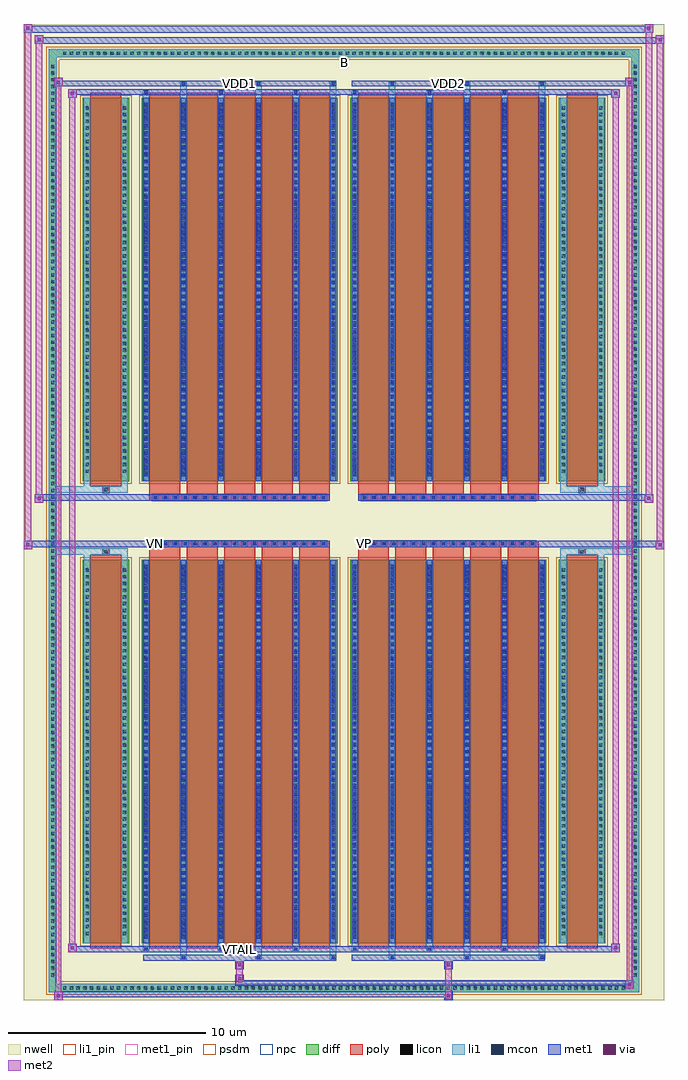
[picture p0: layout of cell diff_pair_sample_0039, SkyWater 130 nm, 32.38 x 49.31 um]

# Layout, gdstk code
import gdstk
lib = gdstk.Library(unit=1e-6, precision=5e-09)
def R(c, l, rs):  # rectangles x0, y0, x1, y1
    for r in rs: c.add(gdstk.rectangle(r[:2], r[2:], *l))
def A(c, l, x, y, w, h, nx, ny, dx, dy):  # array of equal rectangles
    R(c, l, [(x+i*dx, y+j*dy, x+i*dx+w, y+j*dy+h) for i in range(nx) for j in range(ny)])
def P(c, l, *ps):  # polygons
    for p in ps: c.add(gdstk.Polygon(p, *l))
nwell = (64, 20)
diff = (65, 20)
poly = (66, 20)
licon = (66, 44)
li1_pin = (67, 16)
li1 = (67, 20)
mcon = (67, 44)
met1_pin = (68, 16)
met1 = (68, 20)
via = (68, 44)
met2 = (69, 20)
psdm = (94, 20)
npc = (95, 20)

diff_pair_sample_0039 = lib.new_cell('diff_pair_sample_0039')
R(diff_pair_sample_0039, nwell, [(-16.19,-24.22,16.19,25.09), (-13.51,-22.41,-0.01,-0.805), (0.01,-22.41,13.51,-0.805), (-13.51,0.805,-0.01,22.41), (0.01,0.805,13.51,22.41)])
A(diff_pair_sample_0039, diff, -14.315, -23.82, 0.41, 0.41, 84, 2, 0.34, 47.23)
A(diff_pair_sample_0039, diff, -14.92, -23.155, 0.41, 0.41, 1, 136, 0, 0.34)
A(diff_pair_sample_0039, diff, 14.51, -23.155, 0.41, 0.41, 1, 136, 0, 0.34)
R(diff_pair_sample_0039, diff, [(-14.315,-23.82,14.315,-23.41), (-14.92,-23.155,-14.51,23.155), (14.51,-23.155,14.92,23.155), (-13.2,-21.365,-10.86,-1.985), (-10.22,-21.365,-0.32,-1.985), (0.32,-21.365,10.22,-1.985), (10.86,-21.365,13.2,-1.985), (-13.2,1.985,-10.86,21.365), (-10.22,1.985,-0.32,21.365), (0.32,1.985,10.22,21.365), (10.86,1.985,13.2,21.365), (-14.315,23.41,14.315,23.82)])
P(diff_pair_sample_0039, diff, [(14.92,23.82),(-14.92,23.82),(-14.92,-23.41),(-14.51,-23.41),(-14.51,23.41),(14.51,23.41),(14.51,-23.41),(-14.51,-23.41),(-14.92,-23.41),(-14.92,-23.82),(14.92,-23.82)])
A(diff_pair_sample_0039, poly, -9.83, -21.615, 1.56, 19.88, 5, 2, 1.89, 23.35)
A(diff_pair_sample_0039, poly, 0.71, -21.615, 1.56, 19.88, 5, 2, 1.89, 23.35)
A(diff_pair_sample_0039, poly, -9.83, -1.735, 1.56, 0.4, 5, 2, 1.89, 3.07)
A(diff_pair_sample_0039, poly, 0.71, -1.735, 1.56, 0.4, 5, 2, 1.89, 3.07)
A(diff_pair_sample_0039, poly, -9.685, -1.335, 0.33, 0.33, 18, 2, 0.5, 2.34)
A(diff_pair_sample_0039, poly, 0.855, -1.335, 0.33, 0.33, 18, 2, 0.5, 2.34)
R(diff_pair_sample_0039, poly, [(-12.81,-21.615,-11.25,-1.735), (11.25,-21.615,12.81,-1.735), (-12.195,-1.735,-11.865,-1.405), (-12.195,-1.735,-11.865,-1.405), (11.865,-1.735,12.195,-1.405), (11.865,-1.735,12.195,-1.405), (-9.83,-1.335,-0.71,-1.005), (0.71,-1.335,9.83,-1.005), (-9.83,1.005,-0.71,1.335), (0.71,1.005,9.83,1.335), (-12.195,1.405,-11.865,1.735), (-12.195,1.405,-11.865,1.735), (11.865,1.405,12.195,1.735), (11.865,1.405,12.195,1.735), (-12.81,1.735,-11.25,21.615), (11.25,1.735,12.81,21.615)])
A(diff_pair_sample_0039, licon, -14.195, -23.7, 0.17, 0.17, 84, 2, 0.34, 47.23)
A(diff_pair_sample_0039, licon, -14.8, -23.035, 0.17, 0.17, 1, 136, 0, 0.34)
A(diff_pair_sample_0039, licon, 14.63, -23.035, 0.17, 0.17, 1, 136, 0, 0.34)
A(diff_pair_sample_0039, licon, -13.06, -20.94, 0.17, 0.17, 1, 55, 0, 0.34)
A(diff_pair_sample_0039, licon, -11.17, -20.94, 0.17, 0.17, 1, 55, 0, 0.34)
A(diff_pair_sample_0039, licon, -10.08, -20.94, 0.17, 0.17, 6, 55, 1.89, 0.34)
A(diff_pair_sample_0039, licon, 0.46, -20.94, 0.17, 0.17, 6, 55, 1.89, 0.34)
A(diff_pair_sample_0039, licon, 11, -20.94, 0.17, 0.17, 1, 55, 0, 0.34)
A(diff_pair_sample_0039, licon, 12.89, -20.94, 0.17, 0.17, 1, 55, 0, 0.34)
A(diff_pair_sample_0039, licon, -9.605, -1.255, 0.17, 0.17, 18, 2, 0.5, 2.34)
A(diff_pair_sample_0039, licon, 0.935, -1.255, 0.17, 0.17, 18, 2, 0.5, 2.34)
A(diff_pair_sample_0039, licon, -13.06, 2.41, 0.17, 0.17, 1, 55, 0, 0.34)
A(diff_pair_sample_0039, licon, -11.17, 2.41, 0.17, 0.17, 1, 55, 0, 0.34)
A(diff_pair_sample_0039, licon, -10.08, 2.41, 0.17, 0.17, 6, 55, 1.89, 0.34)
A(diff_pair_sample_0039, licon, 0.46, 2.41, 0.17, 0.17, 6, 55, 1.89, 0.34)
A(diff_pair_sample_0039, licon, 11, 2.41, 0.17, 0.17, 1, 55, 0, 0.34)
A(diff_pair_sample_0039, licon, 12.89, 2.41, 0.17, 0.17, 1, 55, 0, 0.34)
R(diff_pair_sample_0039, licon, [(-12.115,-1.655,-11.945,-1.485), (11.945,-1.655,12.115,-1.485), (-12.115,1.485,-11.945,1.655), (11.945,1.485,12.115,1.655)])
R(diff_pair_sample_0039, li1_pin, [(-0.25,22.91,0.25,23.41)])
A(diff_pair_sample_0039, li1, -14.275, -23.78, 0.33, 0.33, 84, 2, 0.34, 47.23)
A(diff_pair_sample_0039, li1, -14.88, -23.115, 0.33, 0.33, 1, 136, 0, 0.34)
A(diff_pair_sample_0039, li1, 14.55, -23.115, 0.33, 0.33, 1, 136, 0, 0.34)
A(diff_pair_sample_0039, li1, -8.27, -22.17, 0.33, 0.805, 3, 2, 3.78, 43.535)
A(diff_pair_sample_0039, li1, -8.19, -22.17, 0.17, 0.17, 3, 2, 3.78, 44.17)
A(diff_pair_sample_0039, li1, 2.27, -22.17, 0.33, 0.805, 3, 2, 3.78, 43.535)
A(diff_pair_sample_0039, li1, 2.35, -22.17, 0.17, 0.17, 3, 2, 3.78, 44.17)
A(diff_pair_sample_0039, li1, -10.16, -21.74, 0.33, 0.375, 3, 2, 3.78, 43.105)
A(diff_pair_sample_0039, li1, -10.08, -21.74, 0.17, 0.17, 3, 2, 3.78, 43.31)
A(diff_pair_sample_0039, li1, 0.38, -21.74, 0.33, 0.375, 3, 2, 3.78, 43.105)
A(diff_pair_sample_0039, li1, 0.46, -21.74, 0.17, 0.17, 3, 2, 3.78, 43.31)
A(diff_pair_sample_0039, li1, -10.16, -21.365, 0.33, 19.38, 6, 2, 1.89, 23.35)
A(diff_pair_sample_0039, li1, 0.38, -21.365, 0.33, 19.38, 6, 2, 1.89, 23.35)
A(diff_pair_sample_0039, li1, -10.08, -21.12, 0.17, 0.17, 6, 53, 1.89, 0.36)
A(diff_pair_sample_0039, li1, -10.08, -21.12, 0.17, 18.89, 6, 2, 1.89, 23.35)
A(diff_pair_sample_0039, li1, 0.46, -21.12, 0.17, 0.17, 6, 53, 1.89, 0.36)
A(diff_pair_sample_0039, li1, 0.46, -21.12, 0.17, 18.89, 6, 2, 1.89, 23.35)
A(diff_pair_sample_0039, li1, -13.14, -21.02, 0.33, 0.33, 1, 55, 0, 0.34)
A(diff_pair_sample_0039, li1, -11.25, -21.02, 0.33, 0.33, 1, 55, 0, 0.34)
A(diff_pair_sample_0039, li1, -10.16, -21.02, 0.33, 0.33, 6, 55, 1.89, 0.34)
A(diff_pair_sample_0039, li1, 0.38, -21.02, 0.33, 0.33, 6, 55, 1.89, 0.34)
A(diff_pair_sample_0039, li1, 10.92, -21.02, 0.33, 0.33, 1, 55, 0, 0.34)
A(diff_pair_sample_0039, li1, 12.81, -21.02, 0.33, 0.33, 1, 55, 0, 0.34)
A(diff_pair_sample_0039, li1, -9.685, -1.335, 0.33, 0.33, 18, 2, 0.5, 2.34)
A(diff_pair_sample_0039, li1, 0.855, -1.335, 0.33, 0.33, 18, 2, 0.5, 2.34)
A(diff_pair_sample_0039, li1, -10.08, 2.23, 0.17, 0.17, 6, 53, 1.89, 0.36)
A(diff_pair_sample_0039, li1, 0.46, 2.23, 0.17, 0.17, 6, 53, 1.89, 0.36)
A(diff_pair_sample_0039, li1, -13.14, 2.33, 0.33, 0.33, 1, 55, 0, 0.34)
A(diff_pair_sample_0039, li1, -11.25, 2.33, 0.33, 0.33, 1, 55, 0, 0.34)
A(diff_pair_sample_0039, li1, -10.16, 2.33, 0.33, 0.33, 6, 55, 1.89, 0.34)
A(diff_pair_sample_0039, li1, 0.38, 2.33, 0.33, 0.33, 6, 55, 1.89, 0.34)
A(diff_pair_sample_0039, li1, 10.92, 2.33, 0.33, 0.33, 1, 55, 0, 0.34)
A(diff_pair_sample_0039, li1, 12.81, 2.33, 0.33, 0.33, 1, 55, 0, 0.34)
R(diff_pair_sample_0039, li1, [(-14.92,-23.82,-14.51,-23.41), (-14.92,-23.82,-14.51,-23.41), (-14.51,-23.82,14.51,-23.41), (14.51,-23.82,14.92,-23.41), (14.51,-23.82,14.92,-23.41), (-14.92,-23.41,-14.51,23.41), (14.51,-23.41,14.92,23.41), (-13.14,-21.365,-12.81,-1.985), (-11.25,-21.365,-10.92,-1.985), (10.92,-21.365,11.25,-1.985), (12.81,-21.365,13.14,-1.985), (-13.14,-1.985,-12.81,-1.405), (-11.25,-1.985,-10.92,-1.405), (10.92,-1.985,11.25,-1.405), (12.81,-1.985,13.14,-1.405), (-14.92,-1.735,-12.195,-1.405), (-13.14,-1.735,-12.195,-1.405), (-12.195,-1.735,-11.865,-1.405), (-11.865,-1.735,-10.92,-1.405), (10.92,-1.735,11.865,-1.405), (11.865,-1.735,12.195,-1.405), (11.865,-1.735,14.92,-1.405), (12.195,-1.735,13.14,-1.405), (-14.92,1.405,-12.195,1.735), (-13.14,1.405,-12.195,1.735), (-13.14,1.405,-12.81,1.985), (-12.195,1.405,-11.865,1.735), (-11.865,1.405,-10.92,1.735), (-11.25,1.405,-10.92,1.985), (10.92,1.405,11.865,1.735), (10.92,1.405,11.25,1.985), (11.865,1.405,12.195,1.735), (11.865,1.405,14.92,1.735), (12.195,1.405,13.14,1.735), (12.81,1.405,13.14,1.985), (-13.14,1.985,-12.81,21.365), (-11.25,1.985,-10.92,21.365), (10.92,1.985,11.25,21.365), (12.81,1.985,13.14,21.365), (-14.92,23.41,-14.51,23.82), (-14.92,23.41,-14.51,23.82), (-14.51,23.41,14.51,23.82), (14.51,23.41,14.92,23.82), (14.51,23.41,14.92,23.82)])
A(diff_pair_sample_0039, mcon, -8.19, -22.17, 0.17, 0.17, 3, 2, 3.78, 44.17)
A(diff_pair_sample_0039, mcon, 2.35, -22.17, 0.17, 0.17, 3, 2, 3.78, 44.17)
A(diff_pair_sample_0039, mcon, -10.08, -21.74, 0.17, 0.17, 3, 2, 3.78, 43.31)
A(diff_pair_sample_0039, mcon, 0.46, -21.74, 0.17, 0.17, 3, 2, 3.78, 43.31)
A(diff_pair_sample_0039, mcon, -10.08, -21.12, 0.17, 0.17, 6, 53, 1.89, 0.36)
A(diff_pair_sample_0039, mcon, 0.46, -21.12, 0.17, 0.17, 6, 53, 1.89, 0.36)
A(diff_pair_sample_0039, mcon, -9.605, -1.255, 0.17, 0.17, 18, 2, 0.5, 2.34)
A(diff_pair_sample_0039, mcon, 0.935, -1.255, 0.17, 0.17, 18, 2, 0.5, 2.34)
A(diff_pair_sample_0039, mcon, -10.08, 2.23, 0.17, 0.17, 6, 53, 1.89, 0.36)
A(diff_pair_sample_0039, mcon, 0.46, 2.23, 0.17, 0.17, 6, 53, 1.89, 0.36)
R(diff_pair_sample_0039, met1_pin, [(-5.405,-21.78,-5.135,-21.51), (-9.655,-1.295,-9.385,-1.025), (0.885,-1.295,1.155,-1.025), (-5.405,21.96,-5.135,22.23), (5.135,21.96,5.405,22.23)])
A(diff_pair_sample_0039, met1, -8.25, -22.23, 0.29, 0.29, 3, 2, 3.78, 44.17)
A(diff_pair_sample_0039, met1, 2.29, -22.23, 0.29, 0.29, 3, 2, 3.78, 44.17)
A(diff_pair_sample_0039, met1, -10.14, -21.8, 0.29, 0.29, 3, 2, 3.78, 43.31)
A(diff_pair_sample_0039, met1, 0.4, -21.8, 0.29, 0.29, 3, 2, 3.78, 43.31)
A(diff_pair_sample_0039, met1, -10.14, -21.365, 0.29, 19.38, 6, 2, 1.89, 23.35)
A(diff_pair_sample_0039, met1, 0.4, -21.365, 0.29, 19.38, 6, 2, 1.89, 23.35)
A(diff_pair_sample_0039, met1, -10.14, -21.18, 0.29, 0.29, 6, 53, 1.89, 0.36)
A(diff_pair_sample_0039, met1, 0.4, -21.18, 0.29, 0.29, 6, 53, 1.89, 0.36)
A(diff_pair_sample_0039, met1, -9.665, -1.315, 0.29, 0.29, 18, 2, 0.5, 2.34)
A(diff_pair_sample_0039, met1, 0.875, -1.315, 0.29, 0.29, 18, 2, 0.5, 2.34)
A(diff_pair_sample_0039, met1, -10.14, 2.17, 0.29, 0.29, 6, 53, 1.89, 0.36)
A(diff_pair_sample_0039, met1, 0.4, 2.17, 0.29, 0.29, 6, 53, 1.89, 0.36)
R(diff_pair_sample_0039, met1, [(-14.65,-24.22,-14.22,-23.79), (5.055,-24.22,5.485,-23.79), (-14.65,-24.08,5.485,-23.79), (14.22,-23.65,14.65,-23.22), (-5.485,-23.51,14.65,-23.22), (-5.485,-23.37,-5.055,-22.94), (-5.485,-22.66,-5.055,-22.23), (5.055,-22.66,5.485,-22.23), (-10.14,-22.23,-0.4,-21.94), (0.4,-22.23,10.14,-21.94), (-13.94,-21.8,-13.51,-21.37), (-13.94,-21.8,-10.14,-21.51), (-10.14,-21.8,-0.4,-21.51), (-0.4,-21.8,0.4,-21.51), (0.4,-21.8,10.14,-21.51), (10.14,-21.8,13.94,-21.51), (13.51,-21.8,13.94,-21.37), (-16.19,-1.435,-15.76,-1.005), (15.76,-1.435,16.19,-1.005), (-16.19,-1.335,-0.71,-1.005), (-9.83,-1.335,-0.71,-1.005), (0.71,-1.335,9.83,-1.005), (0.71,-1.335,16.19,-1.005), (-15.62,0.905,-15.19,1.335), (15.19,0.905,15.62,1.335), (-15.62,1.005,-9.83,1.335), (-9.83,1.005,-0.71,1.335), (0.71,1.005,9.83,1.335), (9.83,1.005,15.62,1.335), (-13.94,21.37,-13.51,21.8), (13.51,21.37,13.94,21.8), (-13.94,21.51,-10.14,21.8), (-10.14,21.51,-0.4,21.8), (-0.4,21.51,0.4,21.8), (0.4,21.51,10.14,21.8), (10.14,21.51,13.94,21.8), (-14.65,21.94,-14.22,22.37), (-14.65,21.94,-10.14,22.23), (-10.14,21.94,-0.4,22.23), (0.4,21.94,10.14,22.23), (10.14,21.94,14.65,22.23), (14.22,21.94,14.65,22.37), (-15.62,24.09,-15.19,24.52), (-15.62,24.09,-13.51,24.42), (-13.51,24.09,13.51,24.42), (13.51,24.09,16.19,24.42), (15.76,24.09,16.19,24.52), (-16.19,24.66,-15.76,25.09), (-16.19,24.66,-13.51,24.99), (-13.51,24.66,13.51,24.99), (13.51,24.66,15.62,24.99), (15.19,24.66,15.62,25.09)])
R(diff_pair_sample_0039, via, [(-14.51,-24.08,-14.36,-23.93), (5.195,-24.08,5.345,-23.93), (14.36,-23.51,14.51,-23.36), (-5.345,-23.23,-5.195,-23.08), (-5.345,-22.52,-5.195,-22.37), (5.195,-22.52,5.345,-22.37), (-13.8,-21.66,-13.65,-21.51), (13.65,-21.66,13.8,-21.51), (-16.05,-1.295,-15.9,-1.145), (15.9,-1.295,16.05,-1.145), (-15.48,1.045,-15.33,1.195), (15.33,1.045,15.48,1.195), (-13.8,21.51,-13.65,21.66), (13.65,21.51,13.8,21.66), (-14.51,22.08,-14.36,22.23), (14.36,22.08,14.51,22.23), (-15.48,24.23,-15.33,24.38), (15.9,24.23,16.05,24.38), (-16.05,24.8,-15.9,24.95), (15.33,24.8,15.48,24.95)])
R(diff_pair_sample_0039, met2, [(-14.65,-24.22,-14.22,-23.79), (-14.58,-24.22,-14.29,22.37), (-14.29,-24.22,-14.22,-23.79), (-14.6,-24.17,-14.27,-23.84), (5.105,-24.17,5.435,-23.84), (5.105,-23.84,5.435,-22.61), (14.22,-23.65,14.65,-23.22), (14.29,-23.65,14.58,22.37), (14.58,-23.65,14.65,-23.22), (14.27,-23.6,14.6,-23.27), (-5.435,-23.32,-5.105,-22.99), (-5.435,-22.99,-5.105,-22.61), (-5.435,-22.61,-5.105,-22.28), (5.105,-22.61,5.435,-22.28), (-13.94,-21.8,-13.51,-21.37), (-13.87,-21.8,-13.58,21.8), (-13.58,-21.8,-13.51,-21.37), (13.51,-21.8,13.94,-21.37), (13.58,-21.8,13.87,21.8), (13.87,-21.8,13.94,-21.37), (-13.89,-21.75,-13.56,-21.42), (13.56,-21.75,13.89,-21.42), (-16.19,-1.435,-15.76,-1.005), (-16.14,-1.435,-15.81,25.09), (-15.81,-1.435,-15.76,-1.005), (15.76,-1.435,16.19,-1.005), (15.81,-1.435,16.14,24.52), (16.14,-1.435,16.19,-1.005), (-16.14,-1.385,-15.81,-1.055), (15.81,-1.385,16.14,-1.055), (-15.62,0.905,-15.19,1.335), (-15.57,0.905,-15.24,24.52), (-15.24,0.905,-15.19,1.335), (15.19,0.905,15.62,1.335), (15.24,0.905,15.57,25.09), (15.57,0.905,15.62,1.335), (-15.57,0.955,-15.24,1.285), (15.24,0.955,15.57,1.285), (-13.94,21.37,-13.51,21.8), (-13.58,21.37,-13.51,21.8), (13.51,21.37,13.94,21.8), (13.87,21.37,13.94,21.8), (-13.89,21.42,-13.56,21.75), (13.56,21.42,13.89,21.75), (-14.65,21.94,-14.22,22.37), (-14.29,21.94,-14.22,22.37), (14.22,21.94,14.65,22.37), (14.58,21.94,14.65,22.37), (-14.6,21.99,-14.27,22.32), (14.27,21.99,14.6,22.32), (-15.62,24.09,-15.19,24.52), (-15.24,24.09,-15.19,24.52), (15.76,24.09,16.19,24.52), (16.14,24.09,16.19,24.52), (-15.57,24.14,-15.24,24.47), (15.81,24.14,16.14,24.47), (-16.19,24.66,-15.76,25.09), (-15.81,24.66,-15.76,25.09), (15.19,24.66,15.62,25.09), (15.57,24.66,15.62,25.09), (-16.14,24.71,-15.81,25.04), (15.24,24.71,15.57,25.04)])
R(diff_pair_sample_0039, psdm, [(-13.33,-21.495,-10.73,-1.855), (-10.35,-21.495,-0.19,-1.855), (0.19,-21.495,10.35,-1.855), (10.73,-21.495,13.33,-1.855), (-13.33,1.855,-10.73,21.495), (-10.35,1.855,-0.19,21.495), (0.19,1.855,10.35,21.495), (10.73,1.855,13.33,21.495)])
P(diff_pair_sample_0039, psdm, [(15.05,23.95),(-15.05,23.95),(-15.05,-23.28),(-14.38,-23.28),(-14.38,23.28),(14.38,23.28),(14.38,-23.28),(-14.38,-23.28),(-15.05,-23.28),(-15.05,-23.95),(15.05,-23.95)])
A(diff_pair_sample_0039, npc, -9.705, -1.355, 0.37, 0.37, 18, 2, 0.5, 2.34)
A(diff_pair_sample_0039, npc, 0.835, -1.355, 0.37, 0.37, 18, 2, 0.5, 2.34)
R(diff_pair_sample_0039, npc, [(-12.215,-1.755,-11.845,-1.385), (11.845,-1.755,12.215,-1.385), (-9.705,-1.355,-8.835,-0.985), (-9.705,-1.355,-8.835,-0.985), (-9.205,-1.355,-8.335,-0.985), (-9.205,-1.355,-8.335,-0.985), (-8.705,-1.355,-7.835,-0.985), (-8.705,-1.355,-7.835,-0.985), (-8.205,-1.355,-7.335,-0.985), (-8.205,-1.355,-7.335,-0.985), (-7.705,-1.355,-6.835,-0.985), (-7.705,-1.355,-6.835,-0.985), (-7.205,-1.355,-6.335,-0.985), (-7.205,-1.355,-6.335,-0.985), (-6.705,-1.355,-5.835,-0.985), (-6.705,-1.355,-5.835,-0.985), (-6.205,-1.355,-5.335,-0.985), (-6.205,-1.355,-5.335,-0.985), (-5.705,-1.355,-4.835,-0.985), (-5.705,-1.355,-4.835,-0.985), (-5.205,-1.355,-4.335,-0.985), (-5.205,-1.355,-4.335,-0.985), (-4.705,-1.355,-3.835,-0.985), (-4.705,-1.355,-3.835,-0.985), (-4.205,-1.355,-3.335,-0.985), (-4.205,-1.355,-3.335,-0.985), (-3.705,-1.355,-2.835,-0.985), (-3.705,-1.355,-2.835,-0.985), (-3.205,-1.355,-2.335,-0.985), (-3.205,-1.355,-2.335,-0.985), (-2.705,-1.355,-1.835,-0.985), (-2.705,-1.355,-1.835,-0.985), (-2.205,-1.355,-1.335,-0.985), (-2.205,-1.355,-1.335,-0.985), (-1.705,-1.355,-0.835,-0.985), (-1.705,-1.355,-0.835,-0.985), (0.835,-1.355,1.705,-0.985), (0.835,-1.355,1.705,-0.985), (1.335,-1.355,2.205,-0.985), (1.335,-1.355,2.205,-0.985), (1.835,-1.355,2.705,-0.985), (1.835,-1.355,2.705,-0.985), (2.335,-1.355,3.205,-0.985), (2.335,-1.355,3.205,-0.985), (2.835,-1.355,3.705,-0.985), (2.835,-1.355,3.705,-0.985), (3.335,-1.355,4.205,-0.985), (3.335,-1.355,4.205,-0.985), (3.835,-1.355,4.705,-0.985), (3.835,-1.355,4.705,-0.985), (4.335,-1.355,5.205,-0.985), (4.335,-1.355,5.205,-0.985), (4.835,-1.355,5.705,-0.985), (4.835,-1.355,5.705,-0.985), (5.335,-1.355,6.205,-0.985), (5.335,-1.355,6.205,-0.985), (5.835,-1.355,6.705,-0.985), (5.835,-1.355,6.705,-0.985), (6.335,-1.355,7.205,-0.985), (6.335,-1.355,7.205,-0.985), (6.835,-1.355,7.705,-0.985), (6.835,-1.355,7.705,-0.985), (7.335,-1.355,8.205,-0.985), (7.335,-1.355,8.205,-0.985), (7.835,-1.355,8.705,-0.985), (7.835,-1.355,8.705,-0.985), (8.335,-1.355,9.205,-0.985), (8.335,-1.355,9.205,-0.985), (8.835,-1.355,9.705,-0.985), (8.835,-1.355,9.705,-0.985), (-9.705,0.985,-8.835,1.355), (-9.705,0.985,-8.835,1.355), (-9.205,0.985,-8.335,1.355), (-9.205,0.985,-8.335,1.355), (-8.705,0.985,-7.835,1.355), (-8.705,0.985,-7.835,1.355), (-8.205,0.985,-7.335,1.355), (-8.205,0.985,-7.335,1.355), (-7.705,0.985,-6.835,1.355), (-7.705,0.985,-6.835,1.355), (-7.205,0.985,-6.335,1.355), (-7.205,0.985,-6.335,1.355), (-6.705,0.985,-5.835,1.355), (-6.705,0.985,-5.835,1.355), (-6.205,0.985,-5.335,1.355), (-6.205,0.985,-5.335,1.355), (-5.705,0.985,-4.835,1.355), (-5.705,0.985,-4.835,1.355), (-5.205,0.985,-4.335,1.355), (-5.205,0.985,-4.335,1.355), (-4.705,0.985,-3.835,1.355), (-4.705,0.985,-3.835,1.355), (-4.205,0.985,-3.335,1.355), (-4.205,0.985,-3.335,1.355), (-3.705,0.985,-2.835,1.355), (-3.705,0.985,-2.835,1.355), (-3.205,0.985,-2.335,1.355), (-3.205,0.985,-2.335,1.355), (-2.705,0.985,-1.835,1.355), (-2.705,0.985,-1.835,1.355), (-2.205,0.985,-1.335,1.355), (-2.205,0.985,-1.335,1.355), (-1.705,0.985,-0.835,1.355), (-1.705,0.985,-0.835,1.355), (0.835,0.985,1.705,1.355), (0.835,0.985,1.705,1.355), (1.335,0.985,2.205,1.355), (1.335,0.985,2.205,1.355), (1.835,0.985,2.705,1.355), (1.835,0.985,2.705,1.355), (2.335,0.985,3.205,1.355), (2.335,0.985,3.205,1.355), (2.835,0.985,3.705,1.355), (2.835,0.985,3.705,1.355), (3.335,0.985,4.205,1.355), (3.335,0.985,4.205,1.355), (3.835,0.985,4.705,1.355), (3.835,0.985,4.705,1.355), (4.335,0.985,5.205,1.355), (4.335,0.985,5.205,1.355), (4.835,0.985,5.705,1.355), (4.835,0.985,5.705,1.355), (5.335,0.985,6.205,1.355), (5.335,0.985,6.205,1.355), (5.835,0.985,6.705,1.355), (5.835,0.985,6.705,1.355), (6.335,0.985,7.205,1.355), (6.335,0.985,7.205,1.355), (6.835,0.985,7.705,1.355), (6.835,0.985,7.705,1.355), (7.335,0.985,8.205,1.355), (7.335,0.985,8.205,1.355), (7.835,0.985,8.705,1.355), (7.835,0.985,8.705,1.355), (8.335,0.985,9.205,1.355), (8.335,0.985,9.205,1.355), (8.835,0.985,9.705,1.355), (8.835,0.985,9.705,1.355), (-12.215,1.385,-11.845,1.755), (11.845,1.385,12.215,1.755)])
diff_pair_sample_0039.add(gdstk.Label('VTAIL', (-5.27,-21.645), layer=68, texttype=5))
diff_pair_sample_0039.add(gdstk.Label('VN', (-9.52,-1.16), layer=68, texttype=5))
diff_pair_sample_0039.add(gdstk.Label('VP', (1.02,-1.16), layer=68, texttype=5))
diff_pair_sample_0039.add(gdstk.Label('B', (0,23.16), layer=67, texttype=5))
diff_pair_sample_0039.add(gdstk.Label('VDD2', (5.27,22.095), layer=68, texttype=5))
diff_pair_sample_0039.add(gdstk.Label('VDD1', (-5.27,22.095), layer=68, texttype=5))

lib.write_gds('diff_pair_sample_0039.gds')
